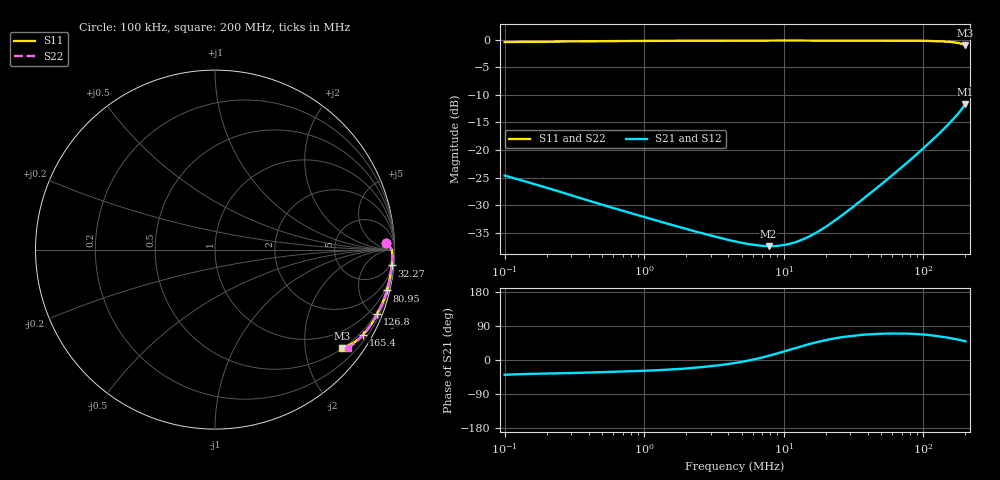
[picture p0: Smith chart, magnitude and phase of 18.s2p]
#  HZ  S  RI  R  50.00
! Rohde & Schwarz Vector Network Analyzer
! Rohde-Schwarz,ZNLE6-2Port,1323001256200024,1.71.1.10-23.02.1.238
! Created: UTC 4/11/2025, 5:20:13 AM
! freq[Hz]  re:S11  im:S11  re:S21  im:S21  re:S12  im:S12  re:S22  im:S22
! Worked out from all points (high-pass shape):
!   1001 points, 100 kHz to 200 MHz, reference 50 ohm
!   highest |S21| = -11.62 dB at 200 MHz (marker M1); lowest = -37.5 dB at 7.789 MHz (marker M2)
!   |S21| within 3 dB of the highest: 160.5 MHz to end of sweep
!   lowest |S11| = -1.0 dB at 200 MHz (marker M3), VSWR 18.08, Z = 25.8 - j142 ohm
!   |S11| at or under -10 dB: nowhere
!   |S22| runs from -0.7 to -0.1 dB; largest |S21 - S12| = 0.0037
!   S11 on the Smith chart (normalised r, x): 100 kHz: 26, +22; 32.27 MHz: 3, -22; 80.95 MHz: 0.56, -8.51; 126.8 MHz: 0.39, -5.21; 165.4 MHz: 0.37, -3.72; 200 MHz: 0.52, -2.85
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100000  0.955 0.0366  0.0456 -0.0368  0.0457 -0.0369  0.9548 0.0364
355854.1  0.9702 0.0194  0.0302 -0.0202  0.0302 -0.0202  0.97 0.0194
1266322  0.9799 0.00761  0.0202 -0.0102  0.0202 -0.0102  0.9799 0.00771
2397897  0.9831 0.00166  0.0169 -0.00621  0.0169 -0.00621  0.9831 0.00173
4472136  0.9854 -0.00652  0.0146 -0.00203  0.0147 -0.00209  0.9855 -0.00556
6061166  0.9862 -0.0117  0.0138 0.000294  0.0138 0.000289  0.9862 -0.0114
7789152  0.9867 -0.0174  0.0131 0.00259  0.0132 0.00241  0.9868 -0.0167
9419242  0.987 -0.0222  0.0128 0.00455  0.0128 0.00448  0.9872 -0.0216
1.104937e7  0.9872 -0.0273  0.0125 0.00643  0.0127 0.00623  0.9874 -0.0263
1.286347e7  0.9874 -0.0324  0.0124 0.00843  0.0124 0.00842  0.9874 -0.0316
1.591428e7  0.9873 -0.0414  0.0122 0.0117  0.0123 0.0116  0.9874 -0.0404
2.108265e7  0.9868 -0.0565  0.0123 0.017  0.0126 0.0169  0.9869 -0.0549
3.22688e7  0.9844 -0.0885  0.0135 0.0283  0.0136 0.0283  0.9847 -0.0862
4.47432e7  0.9801 -0.1244  0.0159 0.0406  0.0165 0.0403  0.9807 -0.1207
5.663162e7  0.9746 -0.1584  0.0192 0.0522  0.02 0.0519  0.9754 -0.1536
8.094824e7  0.9583 -0.2273  0.0289 0.0764  0.0302 0.0759  0.9595 -0.221
1.024565e8  0.9375 -0.2886  0.042 0.0982  0.0436 0.0975  0.9399 -0.2814
1.267559e8  0.9042 -0.3586  0.0625 0.1219  0.0641 0.121  0.9095 -0.3489
1.464495e8  0.8691 -0.4179  0.0833 0.1417  0.085 0.1405  0.8787 -0.4045
1.653881e8  0.8253 -0.4732  0.1083 0.1606  0.1106 0.159  0.8409 -0.4575
1.853616e8  0.7629 -0.5245  0.1404 0.1814  0.143 0.1794  0.7889 -0.5117
2e8  0.7083 -0.5474  0.1709 0.1993  0.1739 0.1972  0.7415 -0.547
